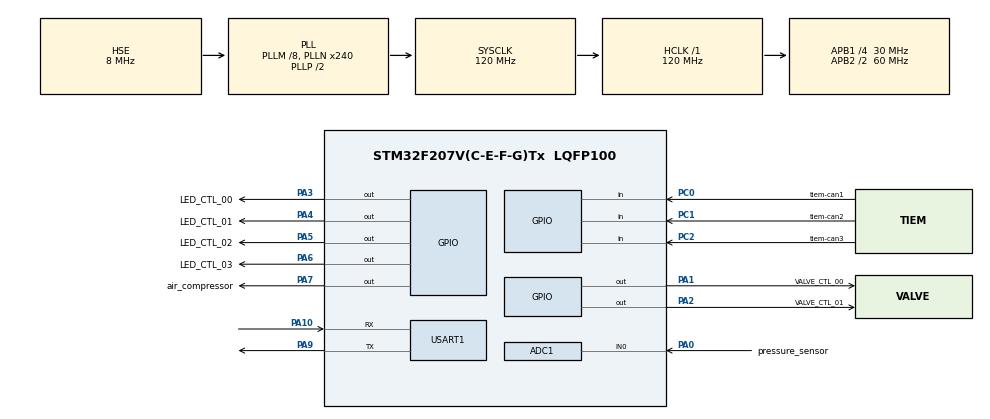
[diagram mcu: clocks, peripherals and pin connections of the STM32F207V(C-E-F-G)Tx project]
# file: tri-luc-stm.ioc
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ADC1.Channel-1\#ChannelRegularConversion=ADC_CHANNEL_0
ADC1.ContinuousConvMode=ENABLE
ADC1.DMAContinuousRequests=ENABLE
ADC1.EOCSelection=ADC_EOC_SINGLE_CONV
ADC1.NbrOfConversionFlag=1
ADC1.Rank-1\#ChannelRegularConversion=1
ADC1.SamplingTime-1\#ChannelRegularConversion=ADC_SAMPLETIME_84CYCLES
ADC1.master=1
Dma.ADC1.0.Direction=DMA_PERIPH_TO_MEMORY
Dma.ADC1.0.FIFOMode=DMA_FIFOMODE_DISABLE
Dma.ADC1.0.Instance=DMA2_Stream0
Dma.ADC1.0.MemDataAlignment=DMA_MDATAALIGN_HALFWORD
Dma.ADC1.0.MemInc=DMA_MINC_ENABLE
Dma.ADC1.0.Mode=DMA_CIRCULAR
Dma.ADC1.0.PeriphDataAlignment=DMA_PDATAALIGN_HALFWORD
Dma.ADC1.0.PeriphInc=DMA_PINC_DISABLE
Dma.ADC1.0.Priority=DMA_PRIORITY_LOW
Dma.Request0=ADC1
Mcu.Family=STM32F2
Mcu.Name=STM32F207V(C-E-F-G)Tx
Mcu.Package=LQFP100
NVIC.DMA2_Stream0_IRQn=true\:3\:0\:true\:false\:true\:true\:true\:true
NVIC.PriorityGroup=NVIC_PRIORITYGROUP_4
NVIC.USART1_IRQn=true\:2\:0\:true\:false\:true\:true\:true\:true
PA0-WKUP.GPIO_Label=pressure_sensor
PA0-WKUP.Signal=ADCx_IN0
PA1.GPIO_Label=VALVE_CTL_00
PA1.Signal=GPIO_Output
PA10.Mode=Asynchronous
PA10.Signal=USART1_RX
PA13.Mode=Serial_Wire
PA13.Signal=SYS_JTMS-SWDIO
PA14.Mode=Serial_Wire
PA14.Signal=SYS_JTCK-SWCLK
PA2.GPIO_Label=VALVE_CTL_01
PA2.Signal=GPIO_Output
PA3.GPIO_Label=LED_CTL_00
PA3.Signal=GPIO_Output
PA4.GPIO_Label=LED_CTL_01
PA4.Signal=GPIO_Output
PA5.GPIO_Label=LED_CTL_02
PA5.Signal=GPIO_Output
PA6.GPIO_Label=LED_CTL_03
PA6.Signal=GPIO_Output
PA7.GPIO_Label=air_compressor
PA7.Signal=GPIO_Output
PA9.Mode=Asynchronous
PA9.Signal=USART1_TX
PC0.GPIO_Label=tiem-can1
PC0.Signal=GPIO_Input
PC1.GPIO_Label=tiem-can2
PC1.Signal=GPIO_Input
PC2.GPIO_Label=tiem-can3
PC2.Signal=GPIO_Input
PH0-OSC_IN.Mode=HSE-External-Oscillator
PH0-OSC_IN.Signal=RCC_OSC_IN
PH1-OSC_OUT.Mode=HSE-External-Oscillator
PH1-OSC_OUT.Signal=RCC_OSC_OUT
ProjectManager.HeapSize=0x200
ProjectManager.StackSize=0x400
ProjectManager.TargetToolchain=MDK-ARM V5.27
RCC.48MHZClocksFreq_Value=60000000
RCC.AHBFreq_Value=120000000
RCC.APB1CLKDivider=RCC_HCLK_DIV4
RCC.APB1Freq_Value=30000000
RCC.APB1TimFreq_Value=60000000
RCC.APB2CLKDivider=RCC_HCLK_DIV2
RCC.APB2Freq_Value=60000000
RCC.APB2TimFreq_Value=120000000
RCC.CortexFreq_Value=120000000
RCC.EnbaleCSS=true
RCC.HCLKFreq_Value=120000000
RCC.HSE_VALUE=8000000
RCC.HSI_VALUE=16000000
RCC.LSE_VALUE=32768
RCC.PLLM=8
RCC.PLLN=240
RCC.PLLSourceVirtual=RCC_PLLSOURCE_HSE
RCC.SYSCLKFreq_VALUE=120000000
RCC.SYSCLKSource=RCC_SYSCLKSOURCE_PLLCLK
RCC.VCOOutputFreq_Value=240000000
SH.ADCx_IN0.0=ADC1_IN0,IN0
USART1.VirtualMode=VM_ASYNC
board=custom

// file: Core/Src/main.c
/* USER CODE BEGIN Header */
/**
  ******************************************************************************
  * @file           : main.c
  * @brief          : Main program body
  ******************************************************************************
  * @attention
  *
  * Copyright (c) 2022 STMicroelectronics.
  * All rights reserved.
  *
  * This software is licensed under terms that can be found in the LICENSE file
  * in the root directory of this software component.
  * If no LICENSE file comes with this software, it is provided AS-IS.
  *
  ******************************************************************************
  */
/* USER CODE END Header */
#include "main.h"
#include "adc.h"
#include "dma.h"
#include "usart.h"
#include "gpio.h"
/* USER CODE BEGIN Includes */
#include "stdio.h"
#include "string.h"
#include "cJSON.H"
#include "math.h"
#include "LibUser.h"
#include "SimpleKalmanFilter.h"
/* USER CODE END Includes */
/* USER CODE BEGIN PM */
SimpleKalmanFilter kf = SimpleKalmanFilter(2, 2, 0.01);
int chooseMain = 0;
float standardPressure = 800;
/* USER CODE END PM */
/* USER CODE BEGIN PV */
float adcKalman(float adc){
	return kf.updateEstimate(adc);
}
//------uart esp32-------//
uint8_t uart;
uint8_t uart_data[10];
uint8_t uart_index = 0;
uint8_t uart_end   = 0;
void HAL_UART_RxCpltCallback(UART_HandleTypeDef *huart){
	UNUSED(huart);
	if(huart -> Instance == USART1)
	{
		if(uart != 13)
		{
			uart_data[uart_index++] = uart;
		}
		else if(uart == 13)// truyen xong du lieu
		{
			uart_data[uart_index++]='\0';
			uart_index = 0;
			uart_end =1;
		}
	}
	HAL_UART_Receive_IT(&huart1,&uart,1);
}
void uart_handle(){
	if(uart_end == 1){
		uint8_t argv[10][20];
		uint8_t arg_num =0;
		char * pch;
		pch = strtok((char *)uart_data," ");
		while(pch != NULL){
			strcpy((char *) argv[arg_num++],pch);
			pch =  strtok(NULL," ");
		}
		uart_end=0;
		if(strcmp((char *)argv[1],"1")==0){
			chooseMain = 1 ;
		}
		else if(strcmp((char *)argv[1],"2")==0){
			chooseMain =2;
		}
		else if(strcmp((char *)argv[1],"3")==0){
			chooseMain =3;
		}
		else if(strcmp((char *)argv[1],"4")==0){
			chooseMain =4;
		}
	}
}
//----------modeTest-------------//
uint32_t startTime;
void ledTest(){
	  static int choose;
	  static uint8_t countled, countOneLed;
	  switch(choose){
			case 0:
				if(HAL_GetTick()- startTime > 3000){
				HAL_GPIO_TogglePin(LED_CTL_00_GPIO_Port,LED_CTL_00_Pin);
				HAL_GPIO_TogglePin(LED_CTL_00_GPIO_Port,LED_CTL_01_Pin);
				HAL_GPIO_TogglePin(LED_CTL_00_GPIO_Port,LED_CTL_02_Pin);
				HAL_GPIO_TogglePin(LED_CTL_00_GPIO_Port,LED_CTL_03_Pin);
				startTime=HAL_GetTick();
				countled++;
					if(countled>=3)
					{
						countled = 0;
						choose = 1;
						countOneLed = 0;
					}
		    }
		   break;
			case 1:
				if(HAL_GetTick()- startTime > 1000){
					countOneLed++;
					if(countOneLed >= 4)countOneLed =0;
					startTime = HAL_GetTick();
					ledSign(countOneLed);
					countled++;
					if(countled >= 16)
					{
						ledSign(4);
						countled =0;
						choose = 0;
					}
				}
				break;
	}
}
void proximityTest(){

	uint8_t dich_trai, gia_tri;
    dich_trai = 0;
	  gia_tri=0;
		gia_tri   = px_left;
	  dich_trai = dich_trai |(gia_tri<< 2);
	  gia_tri   = px_right;
	  dich_trai = dich_trai |(gia_tri<<1);
	  gia_tri   = px_center;
	  dich_trai = dich_trai | gia_tri;
	  switch(dich_trai)
		{
			case 1:
			{
				dich_trai = 2;// dám thang
			  ledSign(2);
			}
			break;
			case 2:
			{
				dich_trai = 1;// punch left
			ledSign(0);
			}
			break;
			case 3:
			{
			 dich_trai = 1; // punch left
			 ledSign(0);
			}
			break;
			case 4:
			{
				dich_trai = 3;// punch right
			  ledSign(1);
			}
			case 5:
			{
				dich_trai = 3;// punch right
			  ledSign(1);
			}
			break;
			case 6:
			{
				dich_trai = 4;// pucnh tall
				ledSign(3);
			}
			break;
			case 7:
			{
			dich_trai = 4;// moc len
			ledSign(3);
			}
			break;
			default:
			{
				dich_trai = 0;
				 ledSign(4);
			}
				break;
		}
}
void dataSendEsp32(uint8_t punch_position,float adc){
		  char data_adc[5],data_position[5];
			char pData[]= "{\"luc\":";
			char dau_ngoac[]="}";
			char dataSend[30];
			sprintf(data_adc,"%0.2f",adc);
			sprintf(data_position,"%d",punch_position);
			strcpy(dataSend,pData);
			strcat(dataSend,data_adc);
			strcat(dataSend,",\"position\":");
			strcat(dataSend,data_position);
			strcat(dataSend,dau_ngoac);
			strcat(dataSend,"\n");
			HAL_UART_Transmit(&huart1, (uint8_t *)dataSend,strlen((char *)dataSend),10);
}
//---------------Read adc--------------//
uint32_t adc_value; // giá tri adc
float max_adc_value;// giá tri max adc;
int dem_punch1 =0;
//-----------event-v2----------//
typedef enum{False,True}boolean;
typedef struct{
	uint32_t froce;
	uint8_t position;
	boolean havePunch;
	uint16_t debug;
}Punch;
Punch punch;
int count = 0;
void evenPuch(){
//	static int count = 0; //countRising=0;
  static uint32_t time = 0;
	 uint32_t adckalman = adcKalman(adc_value);
	 uint32_t limit = standardPressure+standardPressure*0.1;
	  if(adckalman > limit){
			punch.position = position();
			if(punch.froce < adckalman && HAL_GetTick() - time > 300){
				punch.froce = adckalman;
				punch.havePunch = True;
			}
		}
		else{
			if(punch.havePunch == True){
				punch.havePunch =False;
				punch.position=punch.position == 0 ? 2: punch.position;
				dataSendEsp32(punch.position,punch.froce);
				punch.froce =0;
				time = HAL_GetTick();
				count++;
			}
		 }
}
//-----------dataSend-v1--------------------//
void data_send(float adc, uint8_t position){
static int gia_tri_tiem_can,dem_punch;// dem_punch bat suon xuong
static uint8_t punch_position;
	if(position!= 0 && adc_value >(standardPressure +standardPressure*0.1))
		{
			dem_punch=0;
			gia_tri_tiem_can = 1;
			if(adc > max_adc_value)
    	{
				max_adc_value = adc;
			}
			punch_position = position;
		}
		else
		{
		dem_punch++;
		if(gia_tri_tiem_can == 1 && dem_punch == 5000)
		{
		  dataSendEsp32(punch_position,max_adc_value);
			max_adc_value = 0;
			gia_tri_tiem_can = 0;

		}
  }
}

//---------aircompress-------------//
void airCompressTest(){
	static int count;
	static int upperlimit;
	if(HAL_GetTick()-startTime > 10000){
		count++;
		if(count ==1){
			upperlimit = 1200;
			standardPressure = 1200;
		}
		else if(count == 2)
		{
			upperlimit = 800;
			standardPressure = 800;
			HAL_GPIO_WritePin(VALVE_CTL_00_GPIO_Port,VALVE_CTL_00_Pin,GPIO_PIN_SET);
			HAL_Delay(1000);
			HAL_GPIO_WritePin(VALVE_CTL_00_GPIO_Port,VALVE_CTL_00_Pin,GPIO_PIN_RESET);
			count =0;
		}
		if(count > 3)
		{
			count =0;
		}
		startTime = HAL_GetTick();
	}
	airConditioner(adc_value,upperlimit);
}
/* USER CODE END PV */
void SystemClock_Config(void);

int main(void)
{

  /* MCU Configuration--------------------------------------------------------*/

  /* Reset of all peripherals, Initializes the Flash interface and the Systick. */
  HAL_Init();

  /* Configure the system clock */
  SystemClock_Config();
  /* Initialize all configured peripherals */
  MX_GPIO_Init();
  MX_DMA_Init();
  MX_ADC1_Init();
  MX_USART1_UART_Init();
  /* USER CODE BEGIN 2 */
	HAL_UART_Receive_IT(&huart1,&uart,1);
  HAL_ADC_Start_DMA(&hadc1,(uint32_t*)&adc_value,1);
  /* USER CODE END 2 */
  /* Infinite loop */
  while (1)
  {
    /* USER CODE BEGIN 3 */
	 uart_handle();
	 switch(chooseMain){
		 case 1:
			ledTest();
		 break;
		 case 2:
			proximityTest();
			 break;
		 case 3:
			airCompressTest();
			 break;
		 case 4:
			 //data_send(adc_value,(uint8_t)position());
		   evenPuch();
			 break;
		 default:
			 evenPuch();
			 break;
	  }
  }
  /* USER CODE END 3 */
}

void SystemClock_Config(void)
{
  RCC_OscInitTypeDef RCC_OscInitStruct = {0};
  RCC_ClkInitTypeDef RCC_ClkInitStruct = {0};

  /** Initializes the RCC Oscillators according to the specified parameters
  * in the RCC_OscInitTypeDef structure.
  */
  RCC_OscInitStruct.OscillatorType = RCC_OSCILLATORTYPE_HSE;
  RCC_OscInitStruct.HSEState = RCC_HSE_ON;
  RCC_OscInitStruct.PLL.PLLState = RCC_PLL_ON;
  RCC_OscInitStruct.PLL.PLLSource = RCC_PLLSOURCE_HSE;
  RCC_OscInitStruct.PLL.PLLM = 8;
  RCC_OscInitStruct.PLL.PLLN = 240;
  RCC_OscInitStruct.PLL.PLLP = RCC_PLLP_DIV2;
  RCC_OscInitStruct.PLL.PLLQ = 4;
  if (HAL_RCC_OscConfig(&RCC_OscInitStruct) != HAL_OK)
  {
    Error_Handler();
  }

  /** Initializes the CPU, AHB and APB buses clocks
  */
  RCC_ClkInitStruct.ClockType = RCC_CLOCKTYPE_HCLK|RCC_CLOCKTYPE_SYSCLK
                              |RCC_CLOCKTYPE_PCLK1|RCC_CLOCKTYPE_PCLK2;
  RCC_ClkInitStruct.SYSCLKSource = RCC_SYSCLKSOURCE_PLLCLK;
  RCC_ClkInitStruct.AHBCLKDivider = RCC_SYSCLK_DIV1;
  RCC_ClkInitStruct.APB1CLKDivider = RCC_HCLK_DIV4;
  RCC_ClkInitStruct.APB2CLKDivider = RCC_HCLK_DIV2;

  if (HAL_RCC_ClockConfig(&RCC_ClkInitStruct, FLASH_LATENCY_3) != HAL_OK)
  {
    Error_Handler();
  }

  /** Enables the Clock Security System
  */
  HAL_RCC_EnableCSS();
}

void Error_Handler(void)
{
  __disable_irq();
  while (1)
  {
  }
}
